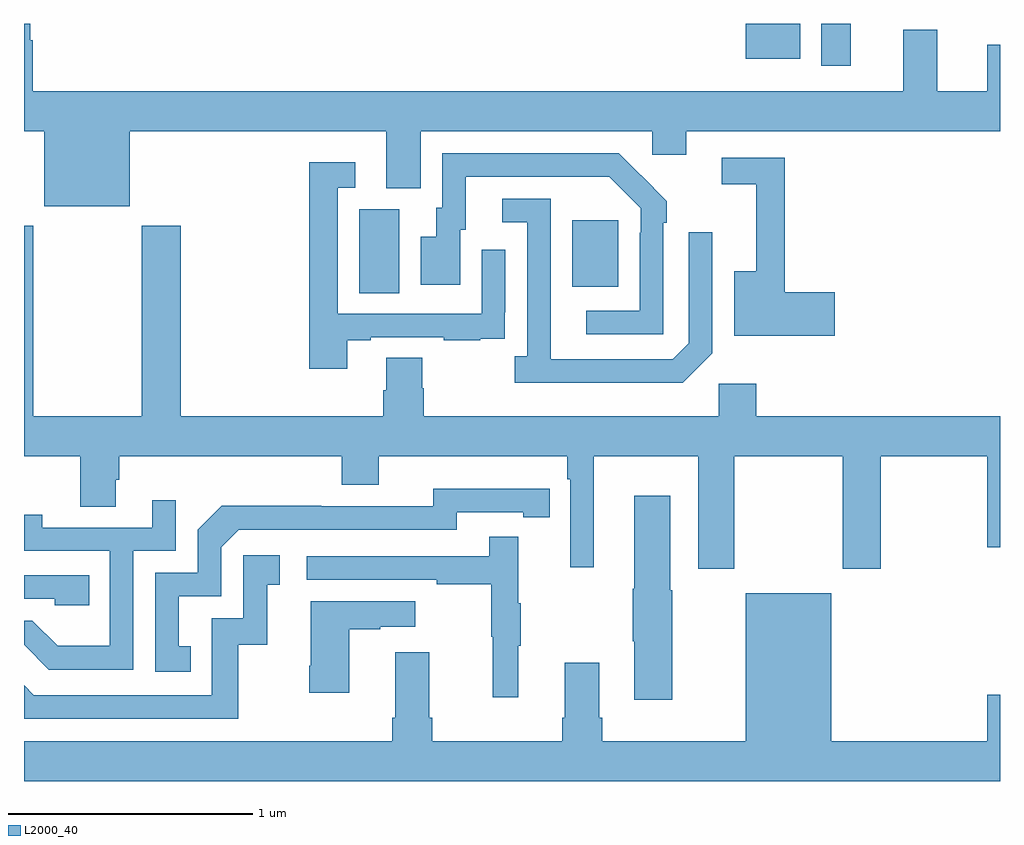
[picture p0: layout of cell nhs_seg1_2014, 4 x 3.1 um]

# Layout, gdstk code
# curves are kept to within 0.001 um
import gdstk
lib = gdstk.Library(unit=1e-6, precision=1e-09)
def R(c, l, rs):  # rectangles x0, y0, x1, y1
    for r in rs: c.add(gdstk.rectangle(r[:2], r[2:], *l))
def P(c, l, *ps):  # polygons
    for p in ps: c.add(gdstk.Polygon(p, *l))
L2000_40 = (2000, 40)

nhs_seg1_2014 = lib.new_cell('nhs_seg1_2014')
R(nhs_seg1_2014, L2000_40, [(222.374,523.096,222.538,523.44), (223.247,523.121,223.435,523.395), (224.267,524.028,224.389,524.199), (223.958,524.057,224.182,524.199)])
P(nhs_seg1_2014, L2000_40, [(221.434,523.76),(222.485,523.76),(222.485,523.525),(222.625,523.525),(222.625,523.76),(223.575,523.76),(223.575,523.662),(223.714,523.662),(223.714,523.76),(225,523.76),(225,524.113),(224.948,524.113),(224.948,523.924),(224.743,523.924),(224.743,524.176),(224.603,524.176),(224.603,523.924),(221.036,523.924),(221.036,524.132),(221.026,524.132),(221.026,524.199),(221,524.199),(221,523.76),(221.084,523.76),(221.084,523.451),(221.434,523.451)],
  [(223.62,523.385),(223.635,523.385),(223.635,523.473),(223.438,523.668),(222.714,523.668),(222.714,523.446),(222.689,523.446),(222.689,523.327),(222.626,523.327),(222.626,523.131),(222.787,523.131),(222.787,523.356),(222.811,523.356),(222.811,523.572),(223.399,523.572),(223.527,523.443),(223.527,523.343),(223.524,523.343),(223.524,523.023),(223.305,523.023),(223.305,522.927),(223.62,522.927)],
  [(224.323,523.1),(224.117,523.1),(224.117,523.65),(223.86,523.65),(223.86,523.542),(224,523.542),(224,523.186),(223.91,523.186),(223.91,522.922),(224.323,522.922)],
  [(222.325,522.903),(222.421,522.903),(222.421,522.915),(222.721,522.915),(222.721,522.903),(222.869,522.903),(222.869,522.909),(222.971,522.909),(222.971,523.018),(222.972,523.018),(222.972,523.273),(222.876,523.273),(222.876,523.011),(222.285,523.011),(222.285,523.527),(222.358,523.527),(222.358,523.633),(222.169,523.633),(222.169,522.786),(222.325,522.786)],
  [(223.821,522.849),(223.821,523.345),(223.725,523.345),(223.725,522.891),(223.659,522.825),(223.159,522.825),(223.158,523.482),(222.96,523.482),(222.96,523.386),(223.062,523.386),(223.062,522.838),(223.011,522.838),(223.011,522.728),(223.7,522.728)],
  [(221.642,523.371),(221.482,523.371),(221.482,522.592),(221.037,522.592),(221.037,523.371),(221,523.371),(221,522.428),(221.23,522.428),(221.23,522.22),(221.377,522.22),(221.377,522.33),(221.39,522.33),(221.39,522.428),(222.302,522.428),(222.302,522.311),(222.454,522.311),(222.454,522.428),(223.226,522.428),(223.226,522.332),(223.239,522.332),(223.239,521.973),(223.336,521.973),(223.336,522.428),(223.763,522.428),(223.763,521.967),(223.911,521.967),(223.911,522.428),(224.356,522.428),(224.356,521.967),(224.511,521.967),(224.511,522.428),(224.948,522.428),(224.948,522.054),(225,522.054),(225,522.592),(224,522.592),(224,522.724),(223.848,522.724),(223.848,522.592),(222.638,522.592),(222.638,522.705),(222.633,522.705),(222.633,522.83),(222.485,522.83),(222.485,522.698),(222.473,522.698),(222.473,522.592),(221.642,522.592)],
  [(221.684,521.649),(221.635,521.649),(221.635,521.853),(221.808,521.853),(221.808,522.054),(221.88,522.126),(222.774,522.126),(222.774,522.198),(223.046,522.198),(223.046,522.178),(223.154,522.178),(223.154,522.294),(222.678,522.295),(222.678,522.222),(222.218,522.222),(222.218,522.224),(221.81,522.224),(221.712,522.126),(221.712,521.949),(221.538,521.949),(221.538,521.544),(221.684,521.544)],
  [(223.656,521.879),(223.648,521.879),(223.648,522.265),(223.502,522.265),(223.502,521.885),(223.495,521.885),(223.495,521.668),(223.502,521.668),(223.502,521.43),(223.656,521.43)],
  [(221.448,522.039),(221.622,522.039),(221.622,522.246),(221.525,522.246),(221.525,522.135),(221.074,522.135),(221.074,522.187),(221,522.187),(221,522.039),(221.352,522.039),(221.352,521.65),(221.138,521.65),(221.034,521.754),(221,521.754),(221,521.655),(221.102,521.553),(221.448,521.553)],
  [(223.025,521.651),(223.036,521.651),(223.036,521.825),(223.025,521.825),(223.025,522.097),(222.907,522.097),(222.907,522.018),(222.159,522.018),(222.159,521.922),(222.691,521.922),(222.691,521.902),(222.915,521.902),(222.915,521.688),(222.922,521.688),(222.922,521.439),(223.025,521.439)],
  [(221.878,521.655),(221.996,521.655),(221.996,521.901),(222.049,521.901),(222.049,522.022),(221.898,522.022),(221.898,521.763),(221.769,521.763),(221.769,521.448),(221.04,521.448),(221,521.488),(221,521.352),(221.878,521.352)],
  [(221.267,521.94),(221,521.94),(221,521.844),(221.127,521.844),(221.127,521.817),(221.267,521.817)],
  [(225,521.449),(224.948,521.449),(224.948,521.26),(224.308,521.26),(224.308,521.866),(223.958,521.866),(223.958,521.26),(223.37,521.26),(223.37,521.356),(223.357,521.356),(223.357,521.581),(223.217,521.581),(223.217,521.356),(223.205,521.356),(223.205,521.26),(222.674,521.26),(222.674,521.356),(222.661,521.356),(222.661,521.623),(222.521,521.623),(222.521,521.356),(222.509,521.356),(222.509,521.26),(221,521.26),(221,521.096),(225,521.096)],
  [(222.334,521.719),(222.461,521.719),(222.461,521.729),(222.604,521.729),(222.604,521.833),(222.176,521.833),(222.176,521.569),(222.169,521.569),(222.169,521.457),(222.334,521.457)])

lib.write_gds('nhs_seg1_2014.gds')
